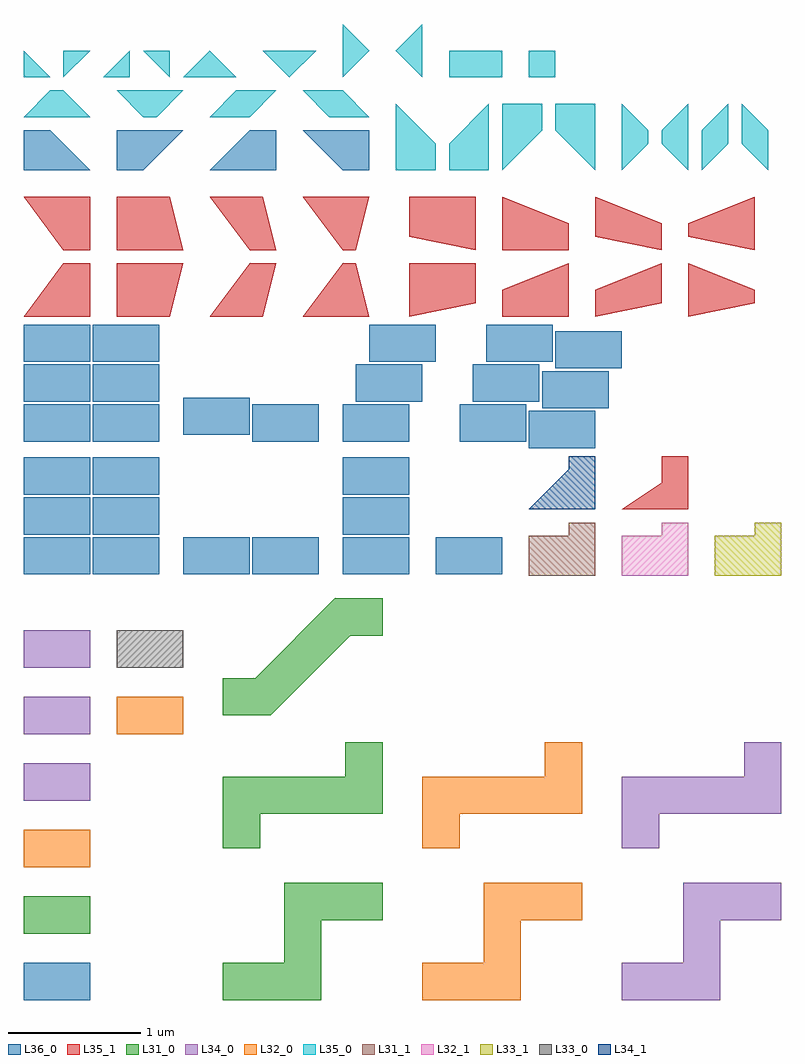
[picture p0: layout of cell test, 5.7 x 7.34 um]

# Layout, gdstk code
import gdstk
lib = gdstk.Library(unit=1e-6, precision=1e-09)
def R(c, l, rs):  # rectangles x0, y0, x1, y1
    for r in rs: c.add(gdstk.rectangle(r[:2], r[2:], *l))
def P(c, l, *ps):  # polygons
    for p in ps: c.add(gdstk.Polygon(p, *l))
L31_0 = (31, 0)
L31_1 = (31, 1)
L32_0 = (32, 0)
L32_1 = (32, 1)
L33_0 = (33, 0)
L33_1 = (33, 1)
L34_0 = (34, 0)
L34_1 = (34, 1)
L35_0 = (35, 0)
L35_1 = (35, 1)
L36_0 = (36, 0)

rectangle = lib.new_cell('rectangle')
R(rectangle, L36_0, [(0,-0.14,0.5,0.14)])

path2 = lib.new_cell('path2')
path2.add(gdstk.FlexPath([(0.14,0.5),(0.36,0.5)], 0.28, ends="extended", simple_path=True, layer=32, datatype=0))  # L32_0

path4 = lib.new_cell('path4')
path4.add(gdstk.FlexPath([(0.1,1),(0.36,1)], 0.28, ends=(0.1, 0.14), simple_path=True, layer=34, datatype=0))  # L34_0

path4_manhattan = lib.new_cell('path4_manhattan')
path4_manhattan.add(gdstk.FlexPath([(0.14,0),(0.2,0),(0.4,0)], 0.28, ends=(0.14, 0.1), simple_path=True, layer=33, datatype=0))  # L33_0

path4_reverse = lib.new_cell('path4_reverse')
path4_reverse.add(gdstk.FlexPath([(0.36,0),(0.1,0)], 0.28, ends=(0.14, 0.1), simple_path=True, layer=32, datatype=0))  # L32_0

path4_no_end = lib.new_cell('path4_no_end')
path4_no_end.add(gdstk.FlexPath([(0.14,1.5),(0.5,1.5)], 0.28, ends=(0.14, 0), simple_path=True, layer=34, datatype=0))  # L34_0

path4_no_bgn = lib.new_cell('path4_no_bgn')
path4_no_bgn.add(gdstk.FlexPath([(0,2),(0.36,2)], 0.28, ends=(0, 0.14), simple_path=True, layer=34, datatype=0))  # L34_0

path0_2 = lib.new_cell('path0_2')
path0_2.add(gdstk.FlexPath([(0.6,2),(1.1,2)], 0.28, ends="flush", simple_path=True, layer=31, datatype=0))  # L31_0

path4_zero_length = lib.new_cell('path4_zero_length')
path4_zero_length.add(gdstk.FlexPath([(0.14,2.5),(0.14,2.5)], 0.28, ends=(0.14, 0.36), simple_path=True, layer=34, datatype=0))  # L34_0

path2_zero_length = lib.new_cell('path2_zero_length')
path2_zero_length.add(gdstk.FlexPath([(0.14,3),(0.14,3)], 0.28, ends="extended", simple_path=True, layer=32, datatype=0))  # L32_0

path0_zero_length = lib.new_cell('path0_zero_length')
path0_zero_length.add(gdstk.FlexPath([(0.6,3),(0.6,3)], 0.28, ends="flush", simple_path=True, layer=31, datatype=0))  # L31_0

path0_3_hor = lib.new_cell('path0_3_hor')
path0_3_hor.add(gdstk.FlexPath([(0,0),(0.6,0),(0.6,0.6),(1.2,0.6)], 0.28, ends="flush", simple_path=True, layer=31, datatype=0))  # L31_0

path0_3_ver = lib.new_cell('path0_3_ver')
path0_3_ver.add(gdstk.FlexPath([(0.14,0),(0.14,0.4),(1.06,0.4),(1.06,0.8)], 0.28, ends="flush", simple_path=True, layer=31, datatype=0))  # L31_0

path0_3_dia = lib.new_cell('path0_3_dia')
path0_3_dia.add(gdstk.FlexPath([(0,0),(0.3,0),(0.9,0.6),(1.2,0.6)], 0.28, ends="flush", simple_path=True, layer=31, datatype=0))  # L31_0

path2_3_hor = lib.new_cell('path2_3_hor')
path2_3_hor.add(gdstk.FlexPath([(0.14,0),(0.6,0),(0.6,0.6),(1.06,0.6)], 0.28, ends="extended", simple_path=True, layer=32, datatype=0))  # L32_0

path2_3_ver = lib.new_cell('path2_3_ver')
path2_3_ver.add(gdstk.FlexPath([(0.14,0.14),(0.14,0.4),(1.06,0.4),(1.06,0.66)], 0.28, ends="extended", simple_path=True, layer=32, datatype=0))  # L32_0

path4_3_hor = lib.new_cell('path4_3_hor')
path4_3_hor.add(gdstk.FlexPath([(0.1,0),(0.6,0),(0.6,0.6),(1,0.6)], 0.28, ends=(0.1, 0.2), simple_path=True, layer=34, datatype=0))  # L34_0

path4_3_ver = lib.new_cell('path4_3_ver')
path4_3_ver.add(gdstk.FlexPath([(0.14,0.1),(0.14,0.4),(1.06,0.4),(1.06,0.6)], 0.28, ends=(0.1, 0.2), simple_path=True, layer=34, datatype=0))  # L34_0

aref1_2_3 = lib.new_cell('aref1_2_3')
r = gdstk.Reference(rectangle, (0,0)); r.repetition = gdstk.Repetition(2, 3, v1=(0.52,0), v2=(0,0.3)); aref1_2_3.add(r)

aref2_2_1 = lib.new_cell('aref2_2_1')
r = gdstk.Reference(rectangle, (0,0)); r.repetition = gdstk.Repetition(2, 1, v1=(0.52,0), v2=(0,-0.9)); aref2_2_1.add(r)

aref3_1_3 = lib.new_cell('aref3_1_3')
r = gdstk.Reference(rectangle, (0,0)); r.repetition = gdstk.Repetition(1, 3, v1=(-1.04,0), v2=(0,0.3)); aref3_1_3.add(r)

aref8_2_3_ortho = lib.new_cell('aref8_2_3_ortho')
r = gdstk.Reference(rectangle, (0,0)); r.repetition = gdstk.Repetition(2, 3, v1=(-0.52,0), v2=(0,0.3)); aref8_2_3_ortho.add(r)

aref9_2_1 = lib.new_cell('aref9_2_1')
r = gdstk.Reference(rectangle, (0,0)); r.repetition = gdstk.Repetition(2, 1, v1=(-0.52,0.05), v2=(0,0.9)); aref9_2_1.add(r)

aref9_1_3 = lib.new_cell('aref9_1_3')
r = gdstk.Reference(rectangle, (0,0)); r.repetition = gdstk.Repetition(1, 3, v1=(1.04,0), v2=(-0.1,-0.3)); aref9_1_3.add(r)

aref_1_1 = lib.new_cell('aref_1_1')
aref_1_1.add(gdstk.Reference(rectangle, (0,0)))

aref8_2_3 = lib.new_cell('aref8_2_3')
r = gdstk.Reference(rectangle, (0,0)); r.repetition = gdstk.Repetition(2, 3, v1=(-0.52,0.05), v2=(0.1,0.3)); aref8_2_3.add(r)

horizontal = lib.new_cell('horizontal')
P(horizontal, L31_1, [(0,0),(0.5,0),(0.5,0.4),(0.3,0.4),(0.3,0.3),(0,0.3)])

vertical = lib.new_cell('vertical')
P(vertical, L32_1, [(0,0),(0,0.3),(0.3,0.3),(0.3,0.4),(0.5,0.4),(0.5,0)])

manhattan = lib.new_cell('manhattan')
P(manhattan, L33_1, [(0,0),(0.5,0),(0.5,0.4),(0.3,0.4),(0.3,0.3),(0.1,0.3),(0,0.3)])

octangular = lib.new_cell('octangular')
P(octangular, L34_1, [(0,0),(0.5,0),(0.5,0.4),(0.3,0.4),(0.3,0.3)])

any_angle = lib.new_cell('any_angle')
P(any_angle, L35_1, [(0,0),(0.5,0),(0.5,0.4),(0.3,0.4),(0.3,0.2)])

trapezoid_vap = lib.new_cell('trapezoid_vap')
P(trapezoid_vap, L35_1, [(0,0),(0.5,0.1),(0.5,0.4),(0,0.4)])

trapezoid_vbp = lib.new_cell('trapezoid_vbp')
P(trapezoid_vbp, L35_1, [(0,0),(0.5,0),(0.5,0.4),(0,0.2)])

trapezoid_vabp = lib.new_cell('trapezoid_vabp')
P(trapezoid_vabp, L35_1, [(0,0),(0.5,0.1),(0.5,0.4),(0,0.2)])

trapezoid_vp = lib.new_cell('trapezoid_vp')
P(trapezoid_vp, L35_1, [(0,0),(0.5,0.1),(0.5,0.2),(0,0.4)])

trapezoid_van = lib.new_cell('trapezoid_van')
P(trapezoid_van, L35_1, [(0,0.1),(0.5,0),(0.5,0.4),(0,0.4)])

trapezoid_vbn = lib.new_cell('trapezoid_vbn')
P(trapezoid_vbn, L35_1, [(0,0),(0.5,0),(0.5,0.2),(0,0.4)])

trapezoid_vabn = lib.new_cell('trapezoid_vabn')
P(trapezoid_vabn, L35_1, [(0,0.1),(0.5,0),(0.5,0.2),(0,0.4)])

trapezoid_vn = lib.new_cell('trapezoid_vn')
P(trapezoid_vn, L35_1, [(0,0.1),(0.5,0),(0.5,0.4),(0,0.2)])

trapezoid_hap = lib.new_cell('trapezoid_hap')
P(trapezoid_hap, L35_1, [(0,0),(0.5,0),(0.5,0.4),(0.3,0.4)])

trapezoid_hbp = lib.new_cell('trapezoid_hbp')
P(trapezoid_hbp, L35_1, [(0,0),(0.4,0),(0.5,0.4),(0,0.4)])

trapezoid_habp = lib.new_cell('trapezoid_habp')
P(trapezoid_habp, L35_1, [(0,0),(0.4,0),(0.5,0.4),(0.3,0.4)])

trapezoid_hp = lib.new_cell('trapezoid_hp')
P(trapezoid_hp, L35_1, [(0,0),(0.5,0),(0.4,0.4),(0.3,0.4)])

trapezoid_han = lib.new_cell('trapezoid_han')
P(trapezoid_han, L35_1, [(0.3,0),(0.5,0),(0.5,0.4),(0,0.4)])

trapezoid_hbn = lib.new_cell('trapezoid_hbn')
P(trapezoid_hbn, L35_1, [(0,0),(0.5,0),(0.4,0.4),(0,0.4)])

trapezoid_habn = lib.new_cell('trapezoid_habn')
P(trapezoid_habn, L35_1, [(0.3,0),(0.5,0),(0.4,0.4),(0,0.4)])

trapezoid_hn = lib.new_cell('trapezoid_hn')
P(trapezoid_hn, L35_1, [(0.3,0),(0.4,0),(0.5,0.4),(0,0.4)])

ctrapezoid0 = lib.new_cell('ctrapezoid0')
P(ctrapezoid0, L36_0, [(0,0),(0.5,0),(0.2,0.3),(0,0.3)])

ctrapezoid1 = lib.new_cell('ctrapezoid1')
P(ctrapezoid1, L36_0, [(0,0),(0.2,0),(0.5,0.3),(0,0.3)])

ctrapezoid2 = lib.new_cell('ctrapezoid2')
P(ctrapezoid2, L36_0, [(0,0),(0.5,0),(0.5,0.3),(0.3,0.3)])

ctrapezoid3 = lib.new_cell('ctrapezoid3')
P(ctrapezoid3, L36_0, [(0.3,0),(0.5,0),(0.5,0.3),(0,0.3)])

ctrapezoid4 = lib.new_cell('ctrapezoid4')
P(ctrapezoid4, L35_0, [(0,0),(0.5,0),(0.3,0.2),(0.2,0.2)])

ctrapezoid5 = lib.new_cell('ctrapezoid5')
P(ctrapezoid5, L35_0, [(0.2,0),(0.3,0),(0.5,0.2),(0,0.2)])

ctrapezoid6 = lib.new_cell('ctrapezoid6')
P(ctrapezoid6, L35_0, [(0,0),(0.3,0),(0.5,0.2),(0.2,0.2)])

ctrapezoid7 = lib.new_cell('ctrapezoid7')
P(ctrapezoid7, L35_0, [(0.2,0),(0.5,0),(0.3,0.2),(0,0.2)])

ctrapezoid8 = lib.new_cell('ctrapezoid8')
P(ctrapezoid8, L35_0, [(0,0),(0.3,0),(0.3,0.2),(0,0.5)])

ctrapezoid9 = lib.new_cell('ctrapezoid9')
P(ctrapezoid9, L35_0, [(0,0),(0.3,0),(0.3,0.5),(0,0.2)])

ctrapezoid10 = lib.new_cell('ctrapezoid10')
P(ctrapezoid10, L35_0, [(0,0),(0.3,0.3),(0.3,0.5),(0,0.5)])

ctrapezoid11 = lib.new_cell('ctrapezoid11')
P(ctrapezoid11, L35_0, [(0.3,0),(0.3,0.5),(0,0.5),(0,0.3)])

ctrapezoid12 = lib.new_cell('ctrapezoid12')
P(ctrapezoid12, L35_0, [(0,0),(0.2,0.2),(0.2,0.3),(0,0.5)])

ctrapezoid13 = lib.new_cell('ctrapezoid13')
P(ctrapezoid13, L35_0, [(0.2,0),(0.2,0.5),(0,0.3),(0,0.2)])

ctrapezoid14 = lib.new_cell('ctrapezoid14')
P(ctrapezoid14, L35_0, [(0,0),(0.2,0.2),(0.2,0.5),(0,0.3)])

ctrapezoid15 = lib.new_cell('ctrapezoid15')
P(ctrapezoid15, L35_0, [(0.2,0),(0.2,0.3),(0,0.5),(0,0.2)])

ctrapezoid16 = lib.new_cell('ctrapezoid16')
P(ctrapezoid16, L35_0, [(0,0),(0.2,0),(0,0.2)])

ctrapezoid17 = lib.new_cell('ctrapezoid17')
P(ctrapezoid17, L35_0, [(0,0),(0.2,0.2),(0,0.2)])

ctrapezoid18 = lib.new_cell('ctrapezoid18')
P(ctrapezoid18, L35_0, [(0,0),(0.2,0),(0.2,0.2)])

ctrapezoid19 = lib.new_cell('ctrapezoid19')
P(ctrapezoid19, L35_0, [(0.2,0),(0.2,0.2),(0,0.2)])

ctrapezoid20 = lib.new_cell('ctrapezoid20')
P(ctrapezoid20, L35_0, [(0,0),(0.4,0),(0.2,0.2)])

ctrapezoid21 = lib.new_cell('ctrapezoid21')
P(ctrapezoid21, L35_0, [(0,0.2),(0.2,0),(0.4,0.2)])

ctrapezoid22 = lib.new_cell('ctrapezoid22')
P(ctrapezoid22, L35_0, [(0,0),(0.2,0.2),(0,0.4)])

ctrapezoid23 = lib.new_cell('ctrapezoid23')
P(ctrapezoid23, L35_0, [(0.2,0),(0.2,0.4),(0,0.2)])

ctrapezoid24 = lib.new_cell('ctrapezoid24')
R(ctrapezoid24, L35_0, [(0,0,0.4,0.2)])

ctrapezoid25 = lib.new_cell('ctrapezoid25')
R(ctrapezoid25, L35_0, [(0,0,0.2,0.2)])

test = lib.new_cell('test')
test.add(gdstk.Reference(rectangle, (0,0)))
test.add(gdstk.Reference(path2, (0,0.5)))
test.add(gdstk.Reference(path4, (0,0.5)))
test.add(gdstk.Reference(path4_manhattan, (0.7,2.5)))
test.add(gdstk.Reference(path4_reverse, (0.7,2)))
test.add(gdstk.Reference(path4_no_end, (0,0.5)))
test.add(gdstk.Reference(path4_no_bgn, (0,0.5)))
test.add(gdstk.Reference(path0_2, (-0.6,-1.5)))
test.add(gdstk.Reference(path4_zero_length, (0.7,-1)))
test.add(gdstk.Reference(path2_zero_length, (0.7,-2)))
test.add(gdstk.Reference(path0_zero_length, (0,0)))
test.add(gdstk.Reference(path0_3_hor, (1.5,0)))
test.add(gdstk.Reference(path0_3_ver, (1.5,1)))
test.add(gdstk.Reference(path0_3_dia, (1.5,2.14)))
test.add(gdstk.Reference(path2_3_hor, (3,0)))
test.add(gdstk.Reference(path2_3_ver, (3,1)))
test.add(gdstk.Reference(path4_3_hor, (4.5,0)))
test.add(gdstk.Reference(path4_3_ver, (4.5,1)))
test.add(gdstk.Reference(aref1_2_3, (0,3.2)))
test.add(gdstk.Reference(aref2_2_1, (1.2,3.2)))
test.add(gdstk.Reference(aref3_1_3, (2.4,3.2)))
test.add(gdstk.Reference(aref8_2_3_ortho, (0.52,4.2)))
test.add(gdstk.Reference(aref9_2_1, (1.72,4.2)))
test.add(gdstk.Reference(aref9_1_3, (2.6,4.8)))
test.add(gdstk.Reference(aref_1_1, (3.1,3.2)))
test.add(gdstk.Reference(aref8_2_3, (3.8,4.15)))
test.add(gdstk.Reference(horizontal, (3.8,3.05)))
test.add(gdstk.Reference(vertical, (4.5,3.05)))
test.add(gdstk.Reference(manhattan, (5.2,3.05)))
test.add(gdstk.Reference(octangular, (3.8,3.55)))
test.add(gdstk.Reference(any_angle, (4.5,3.55)))
test.add(gdstk.Reference(trapezoid_vap, (2.9,5)))
test.add(gdstk.Reference(trapezoid_vbp, (3.6,5)))
test.add(gdstk.Reference(trapezoid_vabp, (4.3,5)))
test.add(gdstk.Reference(trapezoid_vp, (5,5)))
test.add(gdstk.Reference(trapezoid_van, (2.9,5.5)))
test.add(gdstk.Reference(trapezoid_vbn, (3.6,5.5)))
test.add(gdstk.Reference(trapezoid_vabn, (4.3,5.5)))
test.add(gdstk.Reference(trapezoid_vn, (5,5.5)))
test.add(gdstk.Reference(trapezoid_hap, (0,5)))
test.add(gdstk.Reference(trapezoid_hbp, (0.7,5)))
test.add(gdstk.Reference(trapezoid_habp, (1.4,5)))
test.add(gdstk.Reference(trapezoid_hp, (2.1,5)))
test.add(gdstk.Reference(trapezoid_han, (0,5.5)))
test.add(gdstk.Reference(trapezoid_hbn, (0.7,5.5)))
test.add(gdstk.Reference(trapezoid_habn, (1.4,5.5)))
test.add(gdstk.Reference(trapezoid_hn, (2.1,5.5)))
test.add(gdstk.Reference(ctrapezoid0, (0,6.1)))
test.add(gdstk.Reference(ctrapezoid1, (0.7,6.1)))
test.add(gdstk.Reference(ctrapezoid2, (1.4,6.1)))
test.add(gdstk.Reference(ctrapezoid3, (2.1,6.1)))
test.add(gdstk.Reference(ctrapezoid4, (0,6.5)))
test.add(gdstk.Reference(ctrapezoid5, (0.7,6.5)))
test.add(gdstk.Reference(ctrapezoid6, (1.4,6.5)))
test.add(gdstk.Reference(ctrapezoid7, (2.1,6.5)))
test.add(gdstk.Reference(ctrapezoid8, (2.8,6.1)))
test.add(gdstk.Reference(ctrapezoid9, (3.2,6.1)))
test.add(gdstk.Reference(ctrapezoid10, (3.6,6.1)))
test.add(gdstk.Reference(ctrapezoid11, (4,6.1)))
test.add(gdstk.Reference(ctrapezoid12, (4.5,6.1)))
test.add(gdstk.Reference(ctrapezoid13, (4.8,6.1)))
test.add(gdstk.Reference(ctrapezoid14, (5.1,6.1)))
test.add(gdstk.Reference(ctrapezoid15, (5.4,6.1)))
test.add(gdstk.Reference(ctrapezoid16, (0,6.8)))
test.add(gdstk.Reference(ctrapezoid17, (0.3,6.8)))
test.add(gdstk.Reference(ctrapezoid18, (0.6,6.8)))
test.add(gdstk.Reference(ctrapezoid19, (0.9,6.8)))
test.add(gdstk.Reference(ctrapezoid20, (1.2,6.8)))
test.add(gdstk.Reference(ctrapezoid21, (1.8,6.8)))
test.add(gdstk.Reference(ctrapezoid22, (2.4,6.8)))
test.add(gdstk.Reference(ctrapezoid23, (2.8,6.8)))
test.add(gdstk.Reference(ctrapezoid24, (3.2,6.8)))
test.add(gdstk.Reference(ctrapezoid25, (3.8,6.8)))

lib.write_gds('test.gds')
